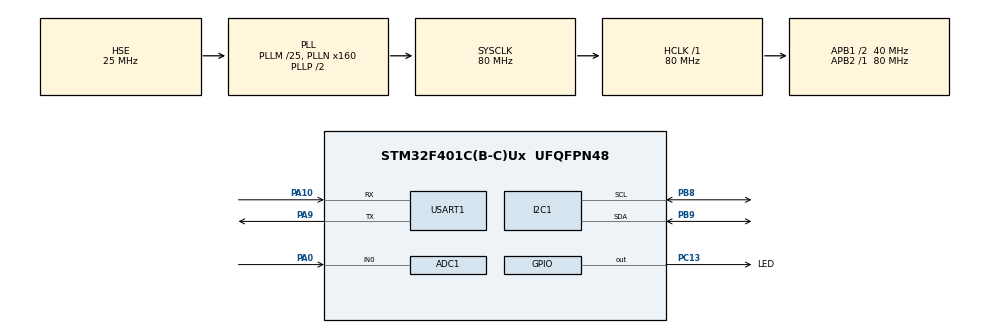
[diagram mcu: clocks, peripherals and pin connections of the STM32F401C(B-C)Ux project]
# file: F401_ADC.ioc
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ADC1.Channel-1\#ChannelRegularConversion=ADC_CHANNEL_0
ADC1.NbrOfConversion=1
ADC1.NbrOfConversionFlag=1
ADC1.Rank-1\#ChannelRegularConversion=1
ADC1.SamplingTime-1\#ChannelRegularConversion=ADC_SAMPLETIME_3CYCLES
ADC1.ScanConvMode=DISABLE
ADC1.master=1
Dma.ADC1.0.Direction=DMA_PERIPH_TO_MEMORY
Dma.ADC1.0.FIFOMode=DMA_FIFOMODE_DISABLE
Dma.ADC1.0.Instance=DMA2_Stream0
Dma.ADC1.0.MemDataAlignment=DMA_MDATAALIGN_HALFWORD
Dma.ADC1.0.MemInc=DMA_MINC_ENABLE
Dma.ADC1.0.Mode=DMA_NORMAL
Dma.ADC1.0.PeriphDataAlignment=DMA_PDATAALIGN_HALFWORD
Dma.ADC1.0.PeriphInc=DMA_PINC_DISABLE
Dma.ADC1.0.Priority=DMA_PRIORITY_LOW
Dma.Request0=ADC1
I2C1.I2C_Mode=I2C_Standard
Mcu.Family=STM32F4
Mcu.Name=STM32F401C(B-C)Ux
Mcu.Package=UFQFPN48
NVIC.DMA2_Stream0_IRQn=true\:0\:0\:false\:false\:true\:false\:true
NVIC.PriorityGroup=NVIC_PRIORITYGROUP_4
PA0-WKUP.Signal=ADCx_IN0
PA10.Mode=Asynchronous
PA10.Signal=USART1_RX
PA13.Mode=Serial_Wire
PA13.Signal=SYS_JTMS-SWDIO
PA14.Mode=Serial_Wire
PA14.Signal=SYS_JTCK-SWCLK
PA9.Mode=Asynchronous
PA9.Signal=USART1_TX
PB8.Mode=I2C
PB8.Signal=I2C1_SCL
PB9.Mode=I2C
PB9.Signal=I2C1_SDA
PC13-ANTI_TAMP.GPIO_Label=LED
PC13-ANTI_TAMP.Signal=GPIO_Output
PH0\ -\ OSC_IN.Mode=HSE-External-Oscillator
PH0\ -\ OSC_IN.Signal=RCC_OSC_IN
PH1\ -\ OSC_OUT.Mode=HSE-External-Oscillator
PH1\ -\ OSC_OUT.Signal=RCC_OSC_OUT
ProjectManager.HeapSize=0x200
ProjectManager.StackSize=0x400
ProjectManager.TargetToolchain=MDK-ARM V5.27
RCC.48MHZClocksFreq_Value=40000000
RCC.AHBFreq_Value=80000000
RCC.APB1CLKDivider=RCC_HCLK_DIV2
RCC.APB1Freq_Value=40000000
RCC.APB1TimFreq_Value=80000000
RCC.APB2Freq_Value=80000000
RCC.APB2TimFreq_Value=80000000
RCC.CortexFreq_Value=80000000
RCC.HCLKFreq_Value=80000000
RCC.HSE_VALUE=25000000
RCC.HSI_VALUE=16000000
RCC.LSE_VALUE=32768
RCC.PLLM=25
RCC.PLLN=160
RCC.PLLSourceVirtual=RCC_PLLSOURCE_HSE
RCC.SYSCLKFreq_VALUE=80000000
RCC.SYSCLKSource=RCC_SYSCLKSOURCE_PLLCLK
RCC.VCOOutputFreq_Value=160000000
SH.ADCx_IN0.0=ADC1_IN0,IN0
USART1.VirtualMode=VM_ASYNC
board=custom

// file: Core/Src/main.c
/* USER CODE BEGIN Header */
/**
  ******************************************************************************
  * @file           : main.c
  * @brief          : Main program body
  ******************************************************************************
  * @attention
  *
  * <h2><center>&copy; Copyright (c) 2022 STMicroelectronics.
  * All rights reserved.</center></h2>
  *
  * This software component is licensed by ST under BSD 3-Clause license,
  * the "License"; You may not use this file except in compliance with the
  * License. You may obtain a copy of the License at:
  *                        opensource.org/licenses/BSD-3-Clause
  *
  ******************************************************************************
  */
/* USER CODE END Header */
#include "main.h"
#include "adc.h"
#include "dma.h"
#include "i2c.h"
#include "usart.h"
#include "gpio.h"

/* USER CODE BEGIN Includes */
#include "lcd1602.h"
#include <string.h>
#include <stdio.h>
#include "delay.h"
/* USER CODE END Includes */

/* USER CODE BEGIN PV */
static uint8_t s_led_state = 0;
char lcd_buffer[2][16]; //буффер сообщения для lcd
char uart_buffer[30]; //буффер сообщения uart
volatile uint8_t ADC_flag = 0; //флаг окончания преобразования АЦП
volatile uint16_t value_adc = 0;
volatile float value_voltage = 0;

typedef struct
{
  unsigned char y_pos;
  unsigned char x_pos;
  char *str1;
} qLCDData;

/* USER CODE END PV */

void SystemClock_Config(void);

int main(void)
{

  /* MCU Configuration--------------------------------------------------------*/

  /* Reset of all peripherals, Initializes the Flash interface and the Systick. */
  HAL_Init();

  /* Configure the system clock */
  SystemClock_Config();

  /* Initialize all configured peripherals */
  MX_GPIO_Init();
  MX_DMA_Init();
  MX_USART1_UART_Init();
  MX_ADC1_Init();
  MX_I2C1_Init();
  /* USER CODE BEGIN 2 */

	LCD_ini();
	qLCDData xLCDData;
	xLCDData.str1 = lcd_buffer[0];
	xLCDData.x_pos = 3;
  xLCDData.y_pos = 0;
	LCD_SetPos(xLCDData.x_pos, xLCDData.y_pos);

	HAL_UART_Transmit (&huart1, (uint8_t *)"start\r\n", strlen ("start\r\n"), 0xFFFF);
	sprintf (uart_buffer, "PCLK1=%u PCLK2=%u\r\n", HAL_RCC_GetPCLK1Freq(), HAL_RCC_GetPCLK2Freq());
	HAL_UART_Transmit (&huart1, (uint8_t *)uart_buffer, strlen (uart_buffer), 0xFFFF);
	LED(1);
	sprintf (lcd_buffer[0], "start");
	LCD_String(xLCDData.str1);
	HAL_Delay (1000);
  /* USER CODE END 2 */

  /* Infinite loop */
  while (1)
  {

    /* USER CODE BEGIN 3 */
		HAL_ADC_Stop_DMA(&hadc1); // останавливаем АЦП1
		clear_LCD1602 ();
		if (s_led_state == 0)
    {
    	s_led_state = 1;
    }
    else
    {
    	s_led_state = 0;
    }
		LED(s_led_state);
		if (ADC_flag == 1)
		{
			sprintf (lcd_buffer[0], "ADC=%u", value_adc);
			value_voltage = (value_adc*3.3)/4096;
			sprintf (lcd_buffer[1], "%.2f_volt", value_voltage);
			xLCDData.str1 = lcd_buffer[0];
			xLCDData.x_pos = 3;
			xLCDData.y_pos = 0;
			LCD_SetPos(xLCDData.x_pos, xLCDData.y_pos);
			LCD_String(xLCDData.str1);
			xLCDData.str1 = lcd_buffer[1];
			xLCDData.x_pos = 3;
			xLCDData.y_pos = 1;
			LCD_SetPos(xLCDData.x_pos, xLCDData.y_pos);
			LCD_String(xLCDData.str1);
		}
		else
		{
			sprintf (lcd_buffer[0], "no_ADC");
			xLCDData.str1 = lcd_buffer[0];
			xLCDData.x_pos = 3;
			xLCDData.y_pos = 0;
			LCD_SetPos(xLCDData.x_pos, xLCDData.y_pos);
			LCD_String(xLCDData.str1);
		}
		ADC_flag = 0;
		HAL_ADC_Start_DMA(&hadc1, (uint32_t*)&value_adc, 1); // старт АЦП с DMA
		delay_ms(1000);
  }
  /* USER CODE END 3 */
}

void SystemClock_Config(void)
{
  RCC_OscInitTypeDef RCC_OscInitStruct = {0};
  RCC_ClkInitTypeDef RCC_ClkInitStruct = {0};

  /** Configure the main internal regulator output voltage
  */
  __HAL_RCC_PWR_CLK_ENABLE();
  __HAL_PWR_VOLTAGESCALING_CONFIG(PWR_REGULATOR_VOLTAGE_SCALE2);
  /** Initializes the RCC Oscillators according to the specified parameters
  * in the RCC_OscInitTypeDef structure.
  */
  RCC_OscInitStruct.OscillatorType = RCC_OSCILLATORTYPE_HSE;
  RCC_OscInitStruct.HSEState = RCC_HSE_ON;
  RCC_OscInitStruct.PLL.PLLState = RCC_PLL_ON;
  RCC_OscInitStruct.PLL.PLLSource = RCC_PLLSOURCE_HSE;
  RCC_OscInitStruct.PLL.PLLM = 25;
  RCC_OscInitStruct.PLL.PLLN = 160;
  RCC_OscInitStruct.PLL.PLLP = RCC_PLLP_DIV2;
  RCC_OscInitStruct.PLL.PLLQ = 4;
  if (HAL_RCC_OscConfig(&RCC_OscInitStruct) != HAL_OK)
  {
    Error_Handler();
  }
  /** Initializes the CPU, AHB and APB buses clocks
  */
  RCC_ClkInitStruct.ClockType = RCC_CLOCKTYPE_HCLK|RCC_CLOCKTYPE_SYSCLK
                              |RCC_CLOCKTYPE_PCLK1|RCC_CLOCKTYPE_PCLK2;
  RCC_ClkInitStruct.SYSCLKSource = RCC_SYSCLKSOURCE_PLLCLK;
  RCC_ClkInitStruct.AHBCLKDivider = RCC_SYSCLK_DIV1;
  RCC_ClkInitStruct.APB1CLKDivider = RCC_HCLK_DIV2;
  RCC_ClkInitStruct.APB2CLKDivider = RCC_HCLK_DIV1;

  if (HAL_RCC_ClockConfig(&RCC_ClkInitStruct, FLASH_LATENCY_2) != HAL_OK)
  {
    Error_Handler();
  }
}

/* USER CODE BEGIN 4 */
void HAL_ADC_ConvCpltCallback(ADC_HandleTypeDef* hadc)
{
    if(hadc->Instance == ADC1)
    {
    	ADC_flag = 1;
    }
}

void HAL_ADC_ErrorCallback(ADC_HandleTypeDef *hadc)
{
	if(hadc->Instance == ADC1)
	{
		HAL_UART_Transmit(&huart1, (uint8_t*)"ADC1_error\n\r", strlen("ADC1_error\n\r"), 1000);
	}
}
/* USER CODE END 4 */

void Error_Handler(void)
{
  __disable_irq();
  while (1)
  {
  }
}

/************************ (C) COPYRIGHT STMicroelectronics *****END OF FILE****/
